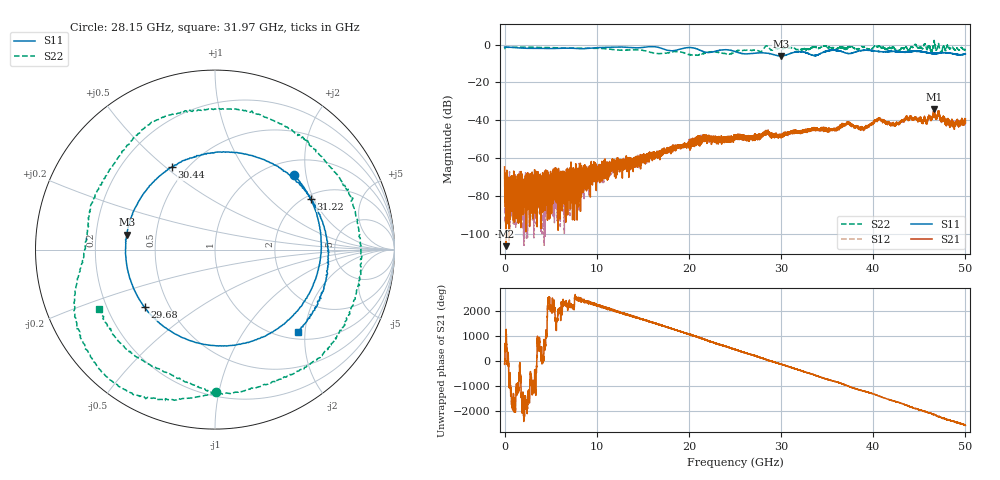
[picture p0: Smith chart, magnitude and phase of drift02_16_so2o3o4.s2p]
!Created with skrf (http://scikit-rf.org).
# Hz S RI R 50.0
!freq ReS11 ImS11 ReS21 ImS21 ReS12 ImS12 ReS22 ImS22
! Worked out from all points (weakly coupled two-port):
!   10001 points, 300 kHz to 50 GHz, reference 50 ohm
!   highest |S21| = -34.17 dB at 46.61 GHz (marker M1); lowest = -106.4 dB at 140.3 MHz (marker M2)
!   lowest |S11| = -6.1 dB at 30.04 GHz (marker M3), VSWR 2.98, Z = 16.9 + j3.71 ohm
!   |S11| at or under -10 dB: nowhere
!   |S22| runs from -5.7 to 2.2 dB; largest |S21 - S12| = 0.0035
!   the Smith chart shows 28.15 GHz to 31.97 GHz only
!   S11 on the Smith chart (normalised r, x): 28.15 GHz: 1.30, +1.71; 29.68 GHz: 0.36, -0.31; 30.44 GHz: 0.42, +0.53; 31.22 GHz: 2.13, +1.91; 31.97 GHz: 1.16, -1.84
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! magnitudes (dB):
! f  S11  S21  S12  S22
! 300 kHz  -1.3  -64.6  -67.8  -2.0
! 140.3 MHz  -1.3  -106.4  -82.3  -1.5
! 500.3 MHz  -1.4  -71.4  -70.6  -1.5
! 3.92 GHz  -2.0  -79.8  -83.8  -1.5
! 8.335 GHz  -2.2  -68.5  -68.2  -1.9
! 16.67 GHz  -1.5  -58.3  -57.8  -4.7
! 21.66 GHz  -3.8  -49.0  -49.3  -4.7
! 25 GHz  -3.7  -49.6  -48.9  -3.9
! 28.15 GHz  -4.4  -47.2  -46.8  -2.0
! 29.68 GHz  -5.9  -48.3  -48.5  -2.1
! 30.04 GHz  -6.1  -48.0  -48.1  -2.0
! 30.44 GHz  -5.7  -46.9  -47.7  -1.8
! 31.22 GHz  -4.4  -46.6  -46.1  -1.8
! 31.97 GHz  -3.7  -46.2  -46.3  -2.8
! 33.34 GHz  -5.5  -44.6  -44.6  -1.5
! 37.28 GHz  -4.8  -40.9  -41.5  -1.4
! 38.83 GHz  -3.0  -44.0  -43.8  -1.2
! 40.63 GHz  -3.6  -39.3  -39.4  -0.9
! 41.67 GHz  -3.7  -41.3  -41.0  -1.9
! 46.61 GHz  -4.7  -34.2  -34.4  2.2
! 48.51 GHz  -4.7  -41.3  -41.1  -1.7
! 50 GHz  -5.0  -39.4  -41.9  -2.6
